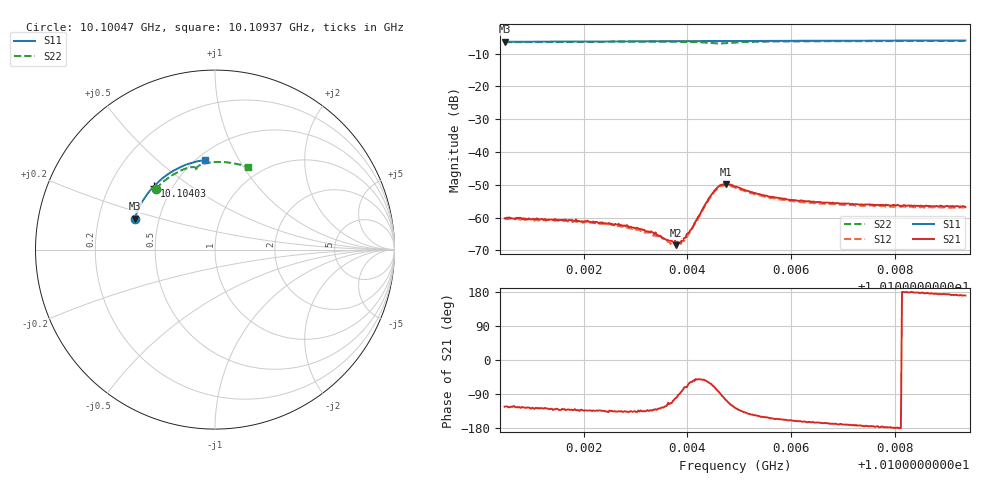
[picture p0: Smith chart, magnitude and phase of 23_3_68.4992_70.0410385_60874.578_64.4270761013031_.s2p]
#  HZ  S  RI  R  50.00
! Rohde & Schwarz Vector Network Analyzer
! Rohde-Schwarz,ZNB20-2Port,1311601062101988,3.16
! Created: UTC 3/20/2024, 5:04:46 PM
! freq[Hz]  re:S11  im:S11  re:S21  im:S21  re:S12  im:S12  re:S22  im:S22
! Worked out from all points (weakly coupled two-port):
!   401 points, 10.10047 GHz to 10.10937 GHz, reference 50 ohm
!   highest |S21| = -49.77 dB at 10.10474 GHz (marker M1); lowest = -68.4 dB at 10.10379 GHz (marker M2)
!   lowest |S11| = -6.4 dB at 10.10047 GHz (marker M3), VSWR 2.85, Z = 18.1 + j8.14 ohm
!   |S11| at or under -10 dB: nowhere
!   |S22| runs from -6.9 to -6.1 dB; largest |S21 - S12| = 0.00034
!   S11 on the Smith chart (normalised r, x): 10.10047 GHz: 0.36, +0.16; 10.10403 GHz: 0.40, +0.37; 10.10937 GHz: 0.55, +0.73
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1.0100473e10  -0.4477 0.173  -0.000535 -0.000817  -0.000483 -0.000859  -0.3299 0.3382
1.0101963e10  -0.4115 0.2562  -0.000584 -0.00066  -0.000542 -0.000671  -0.2575 0.4016
1.0102385e10  -0.3985 0.2783  -0.000568 -0.000582  -0.000538 -0.000626  -0.2344 0.4168
1.0102807e10  -0.3843 0.2998  -0.000533 -0.000517  -0.000484 -0.000547  -0.2103 0.4306
1.0103341e10  -0.3649 0.3257  -0.000387 -0.000445  -0.000319 -0.000424  -0.1777 0.446
1.0103452e10  -0.3605 0.3308  -0.00032 -0.000411  -0.000263 -0.00041  -0.1705 0.4489
1.010363e10  -0.3536 0.339  -0.000175 -0.000419  -0.000148 -0.000399  -0.1586 0.4529
1.0103786e10  -0.3473 0.3461  -6.2e-05 -0.000375  -2.63e-05 -0.000367  -0.1476 0.4561
1.010383e10  -0.3455 0.3481  -7.97e-06 -0.000415  1.8e-05 -0.000415  -0.1445 0.457
1.0103897e10  -0.3427 0.351  7.21e-05 -0.000467  0.000103 -0.00043  -0.1396 0.4579
1.010403e10  -0.3372 0.3568  0.000282 -0.000516  0.000311 -0.000479  -0.1293 0.4594
1.0104119e10  -0.3332 0.3608  0.000448 -0.000608  0.000498 -0.000573  -0.1223 0.4596
1.0104364e10  -0.3227 0.3711  0.000967 -0.00137  0.00104 -0.00126  -0.1031 0.4544
1.0104497e10  -0.3168 0.3765  0.000895 -0.00224  0.00107 -0.00209  -0.0974 0.4467
1.0104631e10  -0.3107 0.382  0.000119 -0.00311  0.000347 -0.00294  -0.1001 0.4414
1.0104742e10  -0.3058 0.3864  -0.000856 -0.00313  -0.000565 -0.00309  -0.1041 0.4443
1.010492e10  -0.2977 0.3932  -0.00175 -0.00241  -0.00149 -0.00248  -0.1016 0.4564
1.0105564e10  -0.2667 0.417  -0.00186 -0.000964  -0.00172 -0.00105  -0.0593 0.4797
1.0105965e10  -0.2466 0.4304  -0.00174 -0.00067  -0.00165 -0.000801  -0.0321 0.4849
1.0106409e10  -0.2232 0.444  -0.00169 -0.000486  -0.00158 -0.000599  -0.00253 0.4878
1.0107899e10  -0.1406 0.4798  -0.00153 -6.47e-05  -0.00147 -0.000188  0.0939 0.4829
1.0109366e10  -0.0542 0.4995  -0.00144 0.000251  -0.00142 8.64e-05  0.1844 0.4591
